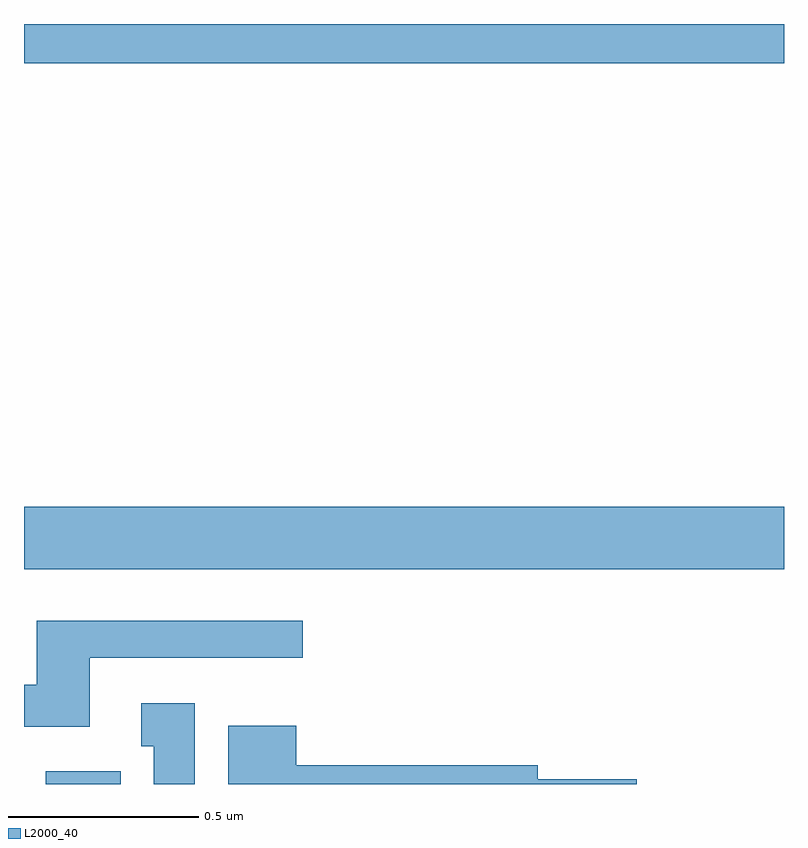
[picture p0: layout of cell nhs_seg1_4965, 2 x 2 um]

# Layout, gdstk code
import gdstk
lib = gdstk.Library(unit=1e-6, precision=1e-09)
def R(c, l, rs):  # rectangles x0, y0, x1, y1
    for r in rs: c.add(gdstk.rectangle(r[:2], r[2:], *l))
def P(c, l, *ps):  # polygons
    for p in ps: c.add(gdstk.Polygon(p, *l))
L2000_40 = (2000, 40)

nhs_seg1_4965 = lib.new_cell('nhs_seg1_4965')
R(nhs_seg1_4965, L2000_40, [(173.057,519.199,173.254,519.232), (173,519.764,175,519.928), (173,521.096,175,521.199)])
P(nhs_seg1_4965, L2000_40, [(173.173,519.531),(173.734,519.531),(173.734,519.628),(173.033,519.628),(173.033,519.46),(173,519.46),(173,519.35),(173.173,519.35)],
  [(173.449,519.412),(173.309,519.412),(173.309,519.299),(173.342,519.299),(173.342,519.199),(173.449,519.199)],
  [(174.613,519.212),(174.352,519.212),(174.352,519.248),(173.716,519.248),(173.716,519.352),(173.537,519.352),(173.537,519.199),(174.613,519.199)])

lib.write_gds('nhs_seg1_4965.gds')
